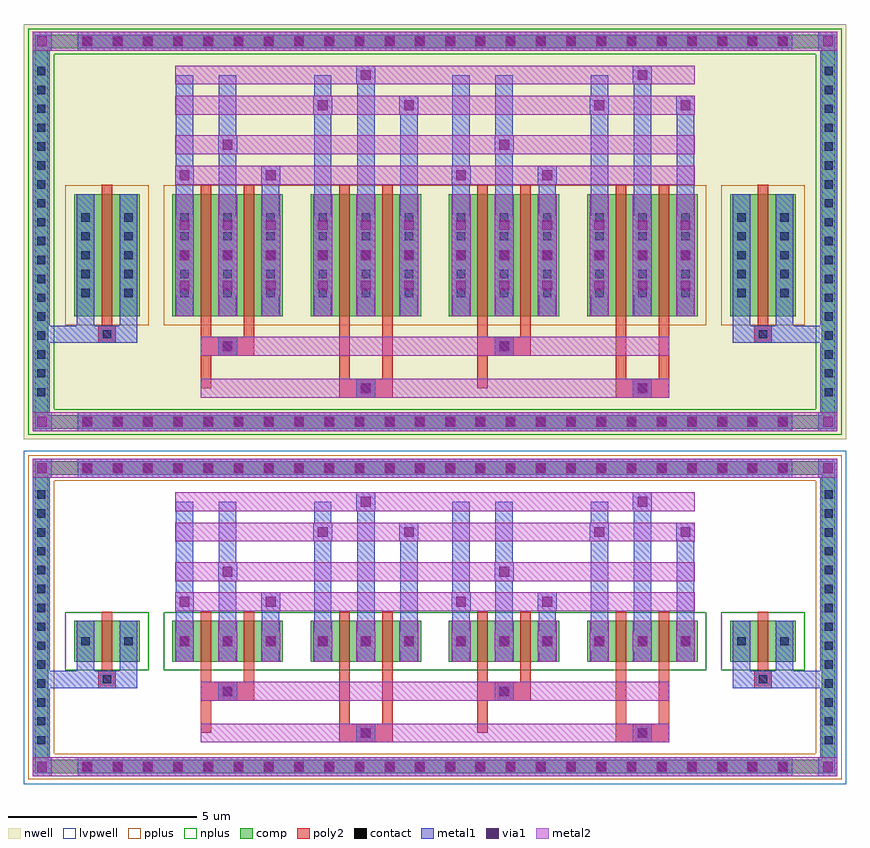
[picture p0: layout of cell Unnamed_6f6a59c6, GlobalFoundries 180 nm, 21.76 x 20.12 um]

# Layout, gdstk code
import gdstk
lib = gdstk.Library(unit=1e-6, precision=5e-09)
def R(c, l, rs):  # rectangles x0, y0, x1, y1
    for r in rs: c.add(gdstk.rectangle(r[:2], r[2:], *l))
def A(c, l, x, y, w, h, nx, ny, dx, dy):  # array of equal rectangles
    R(c, l, [(x+i*dx, y+j*dy, x+i*dx+w, y+j*dy+h) for i in range(nx) for j in range(ny)])
def P(c, l, *ps):  # polygons
    for p in ps: c.add(gdstk.Polygon(p, *l))
nwell = (21, 0)
comp = (22, 0)
poly2 = (30, 0)
pplus = (31, 0)
nplus = (32, 0)
contact = (33, 0)
metal1 = (34, 0)
via1 = (35, 0)
metal2 = (36, 0)
lvpwell = (204, 0)

unnamed_ca1f07ef_1 = lib.new_cell('Unnamed_ca1f07ef$1')
A(unnamed_ca1f07ef_1, comp, -9.38, -5.215, 0.36, 0.36, 24, 2, 0.8, 10.07)
A(unnamed_ca1f07ef_1, comp, -10.6, -4.43, 0.36, 0.36, 1, 18, 0, 0.5)
A(unnamed_ca1f07ef_1, comp, 10.24, -4.43, 0.36, 0.36, 1, 18, 0, 0.5)
R(unnamed_ca1f07ef_1, comp, [(-9.38,-5.215,9.38,-4.855), (-10.6,-4.43,-10.24,4.43), (10.24,-4.43,10.6,4.43), (-9.38,4.855,9.38,5.215)])
P(unnamed_ca1f07ef_1, comp, [(-10.6,-5.215),(-10.6,-4.855),(-10.24,-4.855),(10.24,-4.855),(10.24,4.855),(-10.24,4.855),(-10.24,-4.855),(-10.6,-4.855),(-10.6,5.215),(10.6,5.215),(10.6,-5.215)])
P(unnamed_ca1f07ef_1, nplus, [(-10.76,-5.375),(-10.76,-4.695),(-10.08,-4.695),(10.08,-4.695),(10.08,4.695),(-10.08,4.695),(-10.08,-4.695),(-10.76,-4.695),(-10.76,5.375),(10.76,5.375),(10.76,-5.375)])
A(unnamed_ca1f07ef_1, contact, -9.31, -5.145, 0.22, 0.22, 24, 2, 0.8, 10.07)
A(unnamed_ca1f07ef_1, contact, -10.53, -4.36, 0.22, 0.22, 1, 18, 0, 0.5)
A(unnamed_ca1f07ef_1, contact, 10.31, -4.36, 0.22, 0.22, 1, 18, 0, 0.5)
A(unnamed_ca1f07ef_1, metal1, -9.45, -5.285, 0.5, 0.5, 24, 2, 0.8, 10.07)
A(unnamed_ca1f07ef_1, metal1, -10.65, -4.48, 0.46, 0.46, 1, 18, 0, 0.5)
A(unnamed_ca1f07ef_1, metal1, 10.19, -4.48, 0.46, 0.46, 1, 18, 0, 0.5)
R(unnamed_ca1f07ef_1, metal1, [(-10.65,-5.285,-10.15,-4.785), (-10.65,-5.285,-10.15,-4.785), (-10.65,-5.285,-10.19,-4.855), (-9.45,-5.285,9.45,-4.785), (10.15,-5.285,10.65,-4.785), (10.15,-5.285,10.65,-4.785), (10.19,-5.285,10.65,-4.855), (-10.65,-4.855,-10.19,4.855), (10.19,-4.855,10.65,4.855), (-10.65,4.785,-10.15,5.285), (-10.65,4.785,-10.15,5.285), (-9.45,4.785,9.45,5.285), (10.15,4.785,10.65,5.285), (10.15,4.785,10.65,5.285), (-10.65,4.855,-10.19,5.285), (10.19,4.855,10.65,5.285)])
A(unnamed_ca1f07ef_1, via1, -9.33, -5.165, 0.26, 0.26, 24, 2, 0.8, 10.07)
R(unnamed_ca1f07ef_1, via1, [(-10.53,-5.165,-10.27,-4.905), (10.27,-5.165,10.53,-4.905), (-10.53,4.905,-10.27,5.165), (10.27,4.905,10.53,5.165)])
A(unnamed_ca1f07ef_1, metal2, -9.45, -5.285, 0.5, 0.5, 24, 2, 0.8, 10.07)
R(unnamed_ca1f07ef_1, metal2, [(-10.65,-5.285,-10.24,-4.785), (-10.65,-5.285,-10.15,-4.785), (-10.65,-5.285,-10.15,-4.785), (-10.24,-5.285,10.24,-4.785), (10.15,-5.285,10.65,-4.785), (10.15,-5.285,10.65,-4.785), (10.24,-5.285,10.65,-4.785), (-10.65,4.785,-10.24,5.285), (-10.65,4.785,-10.15,5.285), (-10.65,4.785,-10.15,5.285), (-10.24,4.785,10.24,5.285), (10.15,4.785,10.65,5.285), (10.15,4.785,10.65,5.285), (10.24,4.785,10.65,5.285)])

straight_route_8baccf9a = lib.new_cell('straight_route_8baccf9a')
R(straight_route_8baccf9a, metal1, [(-10.65,-2.945,-8.91,-2.485)])

straight_route_d5d6fc18 = lib.new_cell('straight_route_d5d6fc18')
R(straight_route_d5d6fc18, metal1, [(8.91,-2.945,10.65,-2.485)])

transformed_807aef78 = lib.new_cell('transformed_807aef78')
R(transformed_807aef78, nwell, [(-10.88,-5.495,10.88,5.495)])
A(transformed_807aef78, comp, -6.95, -2.245, 2.92, 3.24, 4, 1, 3.66, 0)
R(transformed_807aef78, comp, [(-9.55,-2.245,-7.81,0.995), (7.81,-2.245,9.55,0.995)])
R(transformed_807aef78, poly2, [(-2.54,-4.395,-1.12,-3.895), (4.78,-4.395,6.2,-3.895), (-2.01,-4.325,-1.65,-3.965), (5.31,-4.325,5.67,-3.965), (-6.2,-4.145,-5.92,-2.485), (1.12,-4.145,1.4,-2.485), (-2.54,-3.895,-2.26,-2.485), (-1.4,-3.895,-1.12,-2.485), (4.78,-3.895,5.06,-2.485), (5.92,-3.895,6.2,-2.485), (-6.2,-3.285,-4.78,-2.785), (1.12,-3.285,2.54,-2.785), (-5.67,-3.215,-5.31,-2.855), (1.65,-3.215,2.01,-2.855), (-8.91,-2.945,-8.45,-2.485), (8.45,-2.945,8.91,-2.485), (-8.86,-2.895,-8.5,-2.535), (8.5,-2.895,8.86,-2.535), (-6.2,-2.785,-5.92,-2.485), (-5.06,-2.785,-4.78,-2.485), (1.12,-2.785,1.4,-2.485), (2.26,-2.785,2.54,-2.485), (-8.82,-2.485,-8.54,1.235), (-6.2,-2.485,-5.92,1.235), (-5.06,-2.485,-4.78,1.235), (-2.54,-2.485,-2.26,1.235), (-1.4,-2.485,-1.12,1.235), (1.12,-2.485,1.4,1.235), (2.26,-2.485,2.54,1.235), (4.78,-2.485,5.06,1.235), (5.92,-2.485,6.2,1.235), (8.54,-2.485,8.82,1.235)])
A(transformed_807aef78, pplus, -7.18, -2.475, 3.38, 3.7, 4, 1, 3.66, 0)
R(transformed_807aef78, pplus, [(-9.78,-2.475,-7.58,1.225), (-7.18,-2.475,7.18,1.225), (7.58,-2.475,9.78,1.225)])
A(transformed_807aef78, contact, -9.36, -1.735, 0.22, 0.22, 1, 5, 0, 0.5)
A(transformed_807aef78, contact, -8.22, -1.735, 0.22, 0.22, 1, 5, 0, 0.5)
A(transformed_807aef78, contact, -6.74, -1.735, 0.22, 0.22, 3, 5, 1.14, 0.5)
A(transformed_807aef78, contact, -3.08, -1.735, 0.22, 0.22, 3, 5, 1.14, 0.5)
A(transformed_807aef78, contact, 0.58, -1.735, 0.22, 0.22, 3, 5, 1.14, 0.5)
A(transformed_807aef78, contact, 4.24, -1.735, 0.22, 0.22, 3, 5, 1.14, 0.5)
A(transformed_807aef78, contact, 8, -1.735, 0.22, 0.22, 1, 5, 0, 0.5)
A(transformed_807aef78, contact, 9.14, -1.735, 0.22, 0.22, 1, 5, 0, 0.5)
R(transformed_807aef78, contact, [(-1.94,-4.255,-1.72,-4.035), (5.38,-4.255,5.6,-4.035), (-5.6,-3.145,-5.38,-2.925), (1.72,-3.145,1.94,-2.925), (-8.79,-2.825,-8.57,-2.605), (8.57,-2.825,8.79,-2.605)])
A(transformed_807aef78, metal1, -6.86, -2.245, 0.46, 3.24, 3, 1, 1.14, 0)
A(transformed_807aef78, metal1, -3.2, -2.245, 0.46, 3.24, 3, 1, 1.14, 0)
A(transformed_807aef78, metal1, 0.46, -2.245, 0.46, 3.24, 3, 1, 1.14, 0)
A(transformed_807aef78, metal1, 4.12, -2.245, 0.46, 3.24, 3, 1, 1.14, 0)
A(transformed_807aef78, metal1, -9.48, -1.855, 0.46, 0.46, 1, 5, 0, 0.5)
A(transformed_807aef78, metal1, -8.34, -1.855, 0.46, 0.46, 1, 5, 0, 0.5)
A(transformed_807aef78, metal1, -6.86, -1.855, 0.46, 0.46, 3, 5, 1.14, 0.5)
A(transformed_807aef78, metal1, -3.2, -1.855, 0.46, 0.46, 3, 5, 1.14, 0.5)
A(transformed_807aef78, metal1, 0.46, -1.855, 0.46, 0.46, 3, 5, 1.14, 0.5)
A(transformed_807aef78, metal1, 4.12, -1.855, 0.46, 0.46, 3, 5, 1.14, 0.5)
A(transformed_807aef78, metal1, 7.88, -1.855, 0.46, 0.46, 1, 5, 0, 0.5)
A(transformed_807aef78, metal1, 9.02, -1.855, 0.46, 0.46, 1, 5, 0, 0.5)
A(transformed_807aef78, metal1, -6.88, -1.675, 0.5, 0.5, 3, 3, 1.14, 0.8)
A(transformed_807aef78, metal1, -6.88, -1.675, 0.5, 2.1, 3, 1, 1.14, 0)
A(transformed_807aef78, metal1, -3.22, -1.675, 0.5, 0.5, 3, 3, 1.14, 0.8)
A(transformed_807aef78, metal1, -3.22, -1.675, 0.5, 2.1, 3, 1, 1.14, 0)
A(transformed_807aef78, metal1, 0.44, -1.675, 0.5, 0.5, 3, 3, 1.14, 0.8)
A(transformed_807aef78, metal1, 0.44, -1.675, 0.5, 2.1, 3, 1, 1.14, 0)
A(transformed_807aef78, metal1, 4.1, -1.675, 0.5, 0.5, 3, 3, 1.14, 0.8)
A(transformed_807aef78, metal1, 4.1, -1.675, 0.5, 2.1, 3, 1, 1.14, 0)
R(transformed_807aef78, metal1, [(-2.08,-4.395,-1.58,-3.895), (5.24,-4.395,5.74,-3.895), (-5.74,-3.285,-5.24,-2.785), (1.58,-3.285,2.08,-2.785), (-9.48,-2.945,-8.91,-2.485), (-9.48,-2.945,-9.02,-2.245), (-8.91,-2.945,-8.45,-2.485), (-8.45,-2.945,-7.88,-2.485), (-8.34,-2.945,-7.88,-2.245), (7.88,-2.945,8.45,-2.485), (7.88,-2.945,8.34,-2.245), (8.45,-2.945,8.91,-2.485), (8.91,-2.945,9.48,-2.485), (9.02,-2.945,9.48,-2.245), (-9.48,-2.245,-9.02,0.995), (-8.34,-2.245,-7.88,0.995), (7.88,-2.245,8.34,0.995), (9.02,-2.245,9.48,0.995), (-6.86,0.995,-6.4,1.745), (-6.86,0.995,-6.4,4.145), (-5.72,0.995,-5.26,2.545), (-5.72,0.995,-5.26,4.145), (-4.58,0.995,-4.12,1.745), (-3.2,0.995,-2.74,3.595), (-3.2,0.995,-2.74,4.145), (-2.06,0.995,-1.6,4.395), (-2.06,0.995,-1.6,4.145), (-0.92,0.995,-0.46,3.595), (0.46,0.995,0.92,1.745), (0.46,0.995,0.92,4.145), (1.6,0.995,2.06,2.545), (1.6,0.995,2.06,4.145), (2.74,0.995,3.2,1.745), (4.12,0.995,4.58,3.595), (4.12,0.995,4.58,4.145), (5.26,0.995,5.72,4.395), (5.26,0.995,5.72,4.145), (6.4,0.995,6.86,3.595), (-6.88,1.245,-6.38,1.745), (-4.6,1.245,-4.1,1.745), (0.44,1.245,0.94,1.745), (2.72,1.245,3.22,1.745), (-5.74,2.045,-5.24,2.545), (1.58,2.045,2.08,2.545), (-3.22,3.095,-2.72,3.595), (-0.94,3.095,-0.44,3.595), (4.1,3.095,4.6,3.595), (6.38,3.095,6.88,3.595), (-2.08,3.895,-1.58,4.395), (5.24,3.895,5.74,4.395)])
A(transformed_807aef78, via1, -6.76, -1.555, 0.26, 0.26, 3, 3, 1.14, 0.8)
A(transformed_807aef78, via1, -3.1, -1.555, 0.26, 0.26, 3, 3, 1.14, 0.8)
A(transformed_807aef78, via1, 0.56, -1.555, 0.26, 0.26, 3, 3, 1.14, 0.8)
A(transformed_807aef78, via1, 4.22, -1.555, 0.26, 0.26, 3, 3, 1.14, 0.8)
R(transformed_807aef78, via1, [(-1.96,-4.275,-1.7,-4.015), (5.36,-4.275,5.62,-4.015), (-5.62,-3.165,-5.36,-2.905), (1.7,-3.165,1.96,-2.905), (-6.76,1.365,-6.5,1.625), (-4.48,1.365,-4.22,1.625), (0.56,1.365,0.82,1.625), (2.84,1.365,3.1,1.625), (-5.62,2.165,-5.36,2.425), (1.7,2.165,1.96,2.425), (-3.1,3.215,-2.84,3.475), (-0.82,3.215,-0.56,3.475), (4.22,3.215,4.48,3.475), (6.5,3.215,6.76,3.475), (-1.96,4.015,-1.7,4.275), (5.36,4.015,5.62,4.275)])
A(transformed_807aef78, metal2, -6.88, -2.245, 0.5, 3.24, 3, 1, 1.14, 0)
A(transformed_807aef78, metal2, -3.22, -2.245, 0.5, 3.24, 3, 1, 1.14, 0)
A(transformed_807aef78, metal2, 0.44, -2.245, 0.5, 3.24, 3, 1, 1.14, 0)
A(transformed_807aef78, metal2, 4.1, -2.245, 0.5, 3.24, 3, 1, 1.14, 0)
A(transformed_807aef78, metal2, -6.88, -1.675, 0.5, 0.5, 3, 3, 1.14, 0.8)
A(transformed_807aef78, metal2, -3.22, -1.675, 0.5, 0.5, 3, 3, 1.14, 0.8)
A(transformed_807aef78, metal2, 0.44, -1.675, 0.5, 0.5, 3, 3, 1.14, 0.8)
A(transformed_807aef78, metal2, 4.1, -1.675, 0.5, 0.5, 3, 3, 1.14, 0.8)
R(transformed_807aef78, metal2, [(-6.2,-4.395,6.2,-3.895), (-2.54,-4.395,-1.12,-3.895), (-2.08,-4.395,-1.58,-3.895), (4.78,-4.395,6.2,-3.895), (5.24,-4.395,5.74,-3.895), (-6.2,-3.285,-4.78,-2.785), (-6.2,-3.285,6.2,-2.785), (-5.74,-3.285,-5.24,-2.785), (1.12,-3.285,2.54,-2.785), (1.58,-3.285,2.08,-2.785), (-6.88,1.245,-6.38,1.745), (-6.88,1.245,-4.1,1.745), (-6.88,1.245,6.88,1.745), (-4.6,1.245,-4.1,1.745), (0.44,1.245,0.94,1.745), (0.44,1.245,3.22,1.745), (2.72,1.245,3.22,1.745), (-6.88,2.045,-4.1,2.545), (-6.88,2.045,6.88,2.545), (-5.74,2.045,-5.24,2.545), (0.44,2.045,3.22,2.545), (1.58,2.045,2.08,2.545), (-6.88,3.095,6.88,3.595), (-3.22,3.095,-2.72,3.595), (-3.22,3.095,-0.44,3.595), (-0.94,3.095,-0.44,3.595), (4.1,3.095,4.6,3.595), (4.1,3.095,6.88,3.595), (6.38,3.095,6.88,3.595), (-6.88,3.895,6.88,4.395), (-3.22,3.895,-0.44,4.395), (-2.08,3.895,-1.58,4.395), (4.1,3.895,6.88,4.395), (5.24,3.895,5.74,4.395)])
transformed_807aef78.add(gdstk.Reference(unnamed_ca1f07ef_1, (0,0)))
transformed_807aef78.add(gdstk.Reference(straight_route_8baccf9a, (0,0)))
transformed_807aef78.add(gdstk.Reference(straight_route_d5d6fc18, (0,0)))

unnamed_1517623b_1 = lib.new_cell('Unnamed_1517623b$1')
A(unnamed_1517623b_1, comp, -9.38, -4.13, 0.36, 0.36, 24, 2, 0.8, 7.9)
A(unnamed_1517623b_1, comp, -10.6, -3.43, 0.36, 0.36, 1, 14, 0, 0.5)
A(unnamed_1517623b_1, comp, 10.24, -3.43, 0.36, 0.36, 1, 14, 0, 0.5)
R(unnamed_1517623b_1, comp, [(-9.38,-4.13,9.38,-3.77), (-10.6,-3.43,-10.24,3.43), (10.24,-3.43,10.6,3.43), (-9.38,3.77,9.38,4.13)])
P(unnamed_1517623b_1, comp, [(-10.6,-4.13),(-10.6,-3.77),(-10.24,-3.77),(10.24,-3.77),(10.24,3.77),(-10.24,3.77),(-10.24,-3.77),(-10.6,-3.77),(-10.6,4.13),(10.6,4.13),(10.6,-4.13)])
P(unnamed_1517623b_1, pplus, [(-10.76,-4.29),(-10.76,-3.61),(-10.08,-3.61),(10.08,-3.61),(10.08,3.61),(-10.08,3.61),(-10.08,-3.61),(-10.76,-3.61),(-10.76,4.29),(10.76,4.29),(10.76,-4.29)])
A(unnamed_1517623b_1, contact, -9.31, -4.06, 0.22, 0.22, 24, 2, 0.8, 7.9)
A(unnamed_1517623b_1, contact, -10.53, -3.36, 0.22, 0.22, 1, 14, 0, 0.5)
A(unnamed_1517623b_1, contact, 10.31, -3.36, 0.22, 0.22, 1, 14, 0, 0.5)
A(unnamed_1517623b_1, metal1, -9.45, -4.2, 0.5, 0.5, 24, 2, 0.8, 7.9)
A(unnamed_1517623b_1, metal1, -10.65, -3.48, 0.46, 0.46, 1, 14, 0, 0.5)
A(unnamed_1517623b_1, metal1, 10.19, -3.48, 0.46, 0.46, 1, 14, 0, 0.5)
R(unnamed_1517623b_1, metal1, [(-10.65,-4.2,-10.15,-3.7), (-10.65,-4.2,-10.15,-3.7), (-10.65,-4.2,-10.19,-3.77), (-9.45,-4.2,9.45,-3.7), (10.15,-4.2,10.65,-3.7), (10.15,-4.2,10.65,-3.7), (10.19,-4.2,10.65,-3.77), (-10.65,-3.77,-10.19,3.77), (10.19,-3.77,10.65,3.77), (-10.65,3.7,-10.15,4.2), (-10.65,3.7,-10.15,4.2), (-9.45,3.7,9.45,4.2), (10.15,3.7,10.65,4.2), (10.15,3.7,10.65,4.2), (-10.65,3.77,-10.19,4.2), (10.19,3.77,10.65,4.2)])
A(unnamed_1517623b_1, via1, -9.33, -4.08, 0.26, 0.26, 24, 2, 0.8, 7.9)
R(unnamed_1517623b_1, via1, [(-10.53,-4.08,-10.27,-3.82), (10.27,-4.08,10.53,-3.82), (-10.53,3.82,-10.27,4.08), (10.27,3.82,10.53,4.08)])
A(unnamed_1517623b_1, metal2, -9.45, -4.2, 0.5, 0.5, 24, 2, 0.8, 7.9)
R(unnamed_1517623b_1, metal2, [(-10.65,-4.2,-10.24,-3.7), (-10.65,-4.2,-10.15,-3.7), (-10.65,-4.2,-10.15,-3.7), (-10.24,-4.2,10.24,-3.7), (10.15,-4.2,10.65,-3.7), (10.15,-4.2,10.65,-3.7), (10.24,-4.2,10.65,-3.7), (-10.65,3.7,-10.24,4.2), (-10.65,3.7,-10.15,4.2), (-10.65,3.7,-10.15,4.2), (-10.24,3.7,10.24,4.2), (10.15,3.7,10.65,4.2), (10.15,3.7,10.65,4.2), (10.24,3.7,10.65,4.2)])

straight_route_c1cfaf16 = lib.new_cell('straight_route_c1cfaf16')
R(straight_route_c1cfaf16, metal1, [(-10.65,-1.87,-8.91,-1.41)])

straight_route_b4421866 = lib.new_cell('straight_route_b4421866')
R(straight_route_b4421866, metal1, [(8.91,-1.87,10.65,-1.41)])

transformed_791e51f3 = lib.new_cell('transformed_791e51f3')
A(transformed_791e51f3, comp, -6.95, -1.17, 2.92, 1.08, 4, 1, 3.66, 0)
R(transformed_791e51f3, comp, [(-9.55,-1.17,-7.81,-0.09), (7.81,-1.17,9.55,-0.09)])
R(transformed_791e51f3, poly2, [(-2.54,-3.31,-1.12,-2.81), (4.78,-3.31,6.2,-2.81), (-2.01,-3.24,-1.65,-2.88), (5.31,-3.24,5.67,-2.88), (-6.2,-3.06,-5.92,-1.41), (1.12,-3.06,1.4,-1.41), (-2.54,-2.81,-2.26,-1.41), (-1.4,-2.81,-1.12,-1.41), (4.78,-2.81,5.06,-1.41), (5.92,-2.81,6.2,-1.41), (-6.2,-2.21,-4.78,-1.71), (1.12,-2.21,2.54,-1.71), (-5.67,-2.14,-5.31,-1.78), (1.65,-2.14,2.01,-1.78), (-8.91,-1.87,-8.45,-1.41), (8.45,-1.87,8.91,-1.41), (-8.86,-1.82,-8.5,-1.46), (8.5,-1.82,8.86,-1.46), (-6.2,-1.71,-5.92,-1.41), (-5.06,-1.71,-4.78,-1.41), (1.12,-1.71,1.4,-1.41), (2.26,-1.71,2.54,-1.41), (-8.82,-1.41,-8.54,0.15), (-6.2,-1.41,-5.92,0.15), (-5.06,-1.41,-4.78,0.15), (-2.54,-1.41,-2.26,0.15), (-1.4,-1.41,-1.12,0.15), (1.12,-1.41,1.4,0.15), (2.26,-1.41,2.54,0.15), (4.78,-1.41,5.06,0.15), (5.92,-1.41,6.2,0.15), (8.54,-1.41,8.82,0.15)])
A(transformed_791e51f3, nplus, -7.18, -1.4, 3.38, 1.54, 4, 1, 3.66, 0)
R(transformed_791e51f3, nplus, [(-9.78,-1.4,-7.58,0.14), (-7.18,-1.4,7.18,0.14), (7.58,-1.4,9.78,0.14)])
A(transformed_791e51f3, contact, -6.74, -0.74, 0.22, 0.22, 3, 1, 1.14, 0)
A(transformed_791e51f3, contact, -3.08, -0.74, 0.22, 0.22, 3, 1, 1.14, 0)
A(transformed_791e51f3, contact, 0.58, -0.74, 0.22, 0.22, 3, 1, 1.14, 0)
A(transformed_791e51f3, contact, 4.24, -0.74, 0.22, 0.22, 3, 1, 1.14, 0)
R(transformed_791e51f3, contact, [(-1.94,-3.17,-1.72,-2.95), (5.38,-3.17,5.6,-2.95), (-5.6,-2.07,-5.38,-1.85), (1.72,-2.07,1.94,-1.85), (-8.79,-1.75,-8.57,-1.53), (8.57,-1.75,8.79,-1.53), (-9.36,-0.74,-9.14,-0.52), (-8.22,-0.74,-8,-0.52), (8,-0.74,8.22,-0.52), (9.14,-0.74,9.36,-0.52)])
A(transformed_791e51f3, metal1, -6.86, -1.17, 0.46, 1.08, 3, 1, 1.14, 0)
A(transformed_791e51f3, metal1, -3.2, -1.17, 0.46, 1.08, 3, 1, 1.14, 0)
A(transformed_791e51f3, metal1, 0.46, -1.17, 0.46, 1.08, 3, 1, 1.14, 0)
A(transformed_791e51f3, metal1, 4.12, -1.17, 0.46, 1.08, 3, 1, 1.14, 0)
A(transformed_791e51f3, metal1, -6.86, -0.86, 0.46, 0.46, 3, 1, 1.14, 0)
A(transformed_791e51f3, metal1, -3.2, -0.86, 0.46, 0.46, 3, 1, 1.14, 0)
A(transformed_791e51f3, metal1, 0.46, -0.86, 0.46, 0.46, 3, 1, 1.14, 0)
A(transformed_791e51f3, metal1, 4.12, -0.86, 0.46, 0.46, 3, 1, 1.14, 0)
R(transformed_791e51f3, metal1, [(-2.08,-3.31,-1.58,-2.81), (5.24,-3.31,5.74,-2.81), (-5.74,-2.21,-5.24,-1.71), (1.58,-2.21,2.08,-1.71), (-9.48,-1.87,-8.91,-1.41), (-9.48,-1.87,-9.02,-1.17), (-8.91,-1.87,-8.45,-1.41), (-8.45,-1.87,-7.88,-1.41), (-8.34,-1.87,-7.88,-1.17), (7.88,-1.87,8.45,-1.41), (7.88,-1.87,8.34,-1.17), (8.45,-1.87,8.91,-1.41), (8.91,-1.87,9.48,-1.41), (9.02,-1.87,9.48,-1.17), (-9.48,-1.17,-9.02,-0.09), (-8.34,-1.17,-7.88,-0.09), (7.88,-1.17,8.34,-0.09), (9.02,-1.17,9.48,-0.09), (-6.88,-0.88,-6.38,-0.38), (-6.88,-0.88,-6.38,-0.38), (-5.74,-0.88,-5.24,-0.38), (-5.74,-0.88,-5.24,-0.38), (-4.6,-0.88,-4.1,-0.38), (-4.6,-0.88,-4.1,-0.38), (-3.22,-0.88,-2.72,-0.38), (-3.22,-0.88,-2.72,-0.38), (-2.08,-0.88,-1.58,-0.38), (-2.08,-0.88,-1.58,-0.38), (-0.94,-0.88,-0.44,-0.38), (-0.94,-0.88,-0.44,-0.38), (0.44,-0.88,0.94,-0.38), (0.44,-0.88,0.94,-0.38), (1.58,-0.88,2.08,-0.38), (1.58,-0.88,2.08,-0.38), (2.72,-0.88,3.22,-0.38), (2.72,-0.88,3.22,-0.38), (4.1,-0.88,4.6,-0.38), (4.1,-0.88,4.6,-0.38), (5.24,-0.88,5.74,-0.38), (5.24,-0.88,5.74,-0.38), (6.38,-0.88,6.88,-0.38), (6.38,-0.88,6.88,-0.38), (-9.48,-0.86,-9.02,-0.4), (-8.34,-0.86,-7.88,-0.4), (7.88,-0.86,8.34,-0.4), (9.02,-0.86,9.48,-0.4), (-6.86,-0.09,-6.4,0.66), (-6.86,-0.09,-6.4,3.06), (-5.72,-0.09,-5.26,1.46), (-5.72,-0.09,-5.26,3.06), (-4.58,-0.09,-4.12,0.66), (-3.2,-0.09,-2.74,2.51), (-3.2,-0.09,-2.74,3.06), (-2.06,-0.09,-1.6,3.31), (-2.06,-0.09,-1.6,3.06), (-0.92,-0.09,-0.46,2.51), (0.46,-0.09,0.92,0.66), (0.46,-0.09,0.92,3.06), (1.6,-0.09,2.06,1.46), (1.6,-0.09,2.06,3.06), (2.74,-0.09,3.2,0.66), (4.12,-0.09,4.58,2.51), (4.12,-0.09,4.58,3.06), (5.26,-0.09,5.72,3.31), (5.26,-0.09,5.72,3.06), (6.4,-0.09,6.86,2.51), (-6.88,0.16,-6.38,0.66), (-4.6,0.16,-4.1,0.66), (0.44,0.16,0.94,0.66), (2.72,0.16,3.22,0.66), (-5.74,0.96,-5.24,1.46), (1.58,0.96,2.08,1.46), (-3.22,2.01,-2.72,2.51), (-0.94,2.01,-0.44,2.51), (4.1,2.01,4.6,2.51), (6.38,2.01,6.88,2.51), (-2.08,2.81,-1.58,3.31), (5.24,2.81,5.74,3.31)])
A(transformed_791e51f3, via1, -6.76, -0.76, 0.26, 0.26, 3, 1, 1.14, 0)
A(transformed_791e51f3, via1, -3.1, -0.76, 0.26, 0.26, 3, 1, 1.14, 0)
A(transformed_791e51f3, via1, 0.56, -0.76, 0.26, 0.26, 3, 1, 1.14, 0)
A(transformed_791e51f3, via1, 4.22, -0.76, 0.26, 0.26, 3, 1, 1.14, 0)
R(transformed_791e51f3, via1, [(-1.96,-3.19,-1.7,-2.93), (5.36,-3.19,5.62,-2.93), (-5.62,-2.09,-5.36,-1.83), (1.7,-2.09,1.96,-1.83), (-6.76,0.28,-6.5,0.54), (-4.48,0.28,-4.22,0.54), (0.56,0.28,0.82,0.54), (2.84,0.28,3.1,0.54), (-5.62,1.08,-5.36,1.34), (1.7,1.08,1.96,1.34), (-3.1,2.13,-2.84,2.39), (-0.82,2.13,-0.56,2.39), (4.22,2.13,4.48,2.39), (6.5,2.13,6.76,2.39), (-1.96,2.93,-1.7,3.19), (5.36,2.93,5.62,3.19)])
A(transformed_791e51f3, metal2, -6.88, -1.17, 0.5, 1.08, 3, 1, 1.14, 0)
A(transformed_791e51f3, metal2, -3.22, -1.17, 0.5, 1.08, 3, 1, 1.14, 0)
A(transformed_791e51f3, metal2, 0.44, -1.17, 0.5, 1.08, 3, 1, 1.14, 0)
A(transformed_791e51f3, metal2, 4.1, -1.17, 0.5, 1.08, 3, 1, 1.14, 0)
A(transformed_791e51f3, metal2, -6.88, -0.88, 0.5, 0.5, 3, 1, 1.14, 0)
A(transformed_791e51f3, metal2, -3.22, -0.88, 0.5, 0.5, 3, 1, 1.14, 0)
A(transformed_791e51f3, metal2, 0.44, -0.88, 0.5, 0.5, 3, 1, 1.14, 0)
A(transformed_791e51f3, metal2, 4.1, -0.88, 0.5, 0.5, 3, 1, 1.14, 0)
R(transformed_791e51f3, metal2, [(-6.2,-3.31,6.2,-2.81), (-2.54,-3.31,-1.12,-2.81), (-2.08,-3.31,-1.58,-2.81), (4.78,-3.31,6.2,-2.81), (5.24,-3.31,5.74,-2.81), (-6.2,-2.21,-4.78,-1.71), (-6.2,-2.21,6.2,-1.71), (-5.74,-2.21,-5.24,-1.71), (1.12,-2.21,2.54,-1.71), (1.58,-2.21,2.08,-1.71), (-6.88,0.16,-6.38,0.66), (-6.88,0.16,-4.1,0.66), (-6.88,0.16,6.88,0.66), (-4.6,0.16,-4.1,0.66), (0.44,0.16,0.94,0.66), (0.44,0.16,3.22,0.66), (2.72,0.16,3.22,0.66), (-6.88,0.96,-4.1,1.46), (-6.88,0.96,6.88,1.46), (-5.74,0.96,-5.24,1.46), (0.44,0.96,3.22,1.46), (1.58,0.96,2.08,1.46), (-6.88,2.01,6.88,2.51), (-3.22,2.01,-2.72,2.51), (-3.22,2.01,-0.44,2.51), (-0.94,2.01,-0.44,2.51), (4.1,2.01,4.6,2.51), (4.1,2.01,6.88,2.51), (6.38,2.01,6.88,2.51), (-6.88,2.81,6.88,3.31), (-3.22,2.81,-0.44,3.31), (-2.08,2.81,-1.58,3.31), (4.1,2.81,6.88,3.31), (5.24,2.81,5.74,3.31)])
R(transformed_791e51f3, lvpwell, [(-10.88,-4.41,10.88,4.41)])
transformed_791e51f3.add(gdstk.Reference(unnamed_1517623b_1, (0,0)))
transformed_791e51f3.add(gdstk.Reference(straight_route_c1cfaf16, (0,0)))
transformed_791e51f3.add(gdstk.Reference(straight_route_b4421866, (0,0)))

unnamed_6f6a59c6 = lib.new_cell('Unnamed_6f6a59c6')
unnamed_6f6a59c6.add(gdstk.Reference(transformed_807aef78, (0,10.21)))
unnamed_6f6a59c6.add(gdstk.Reference(transformed_791e51f3, (0,0)))

lib.write_gds('Unnamed_6f6a59c6.gds')
